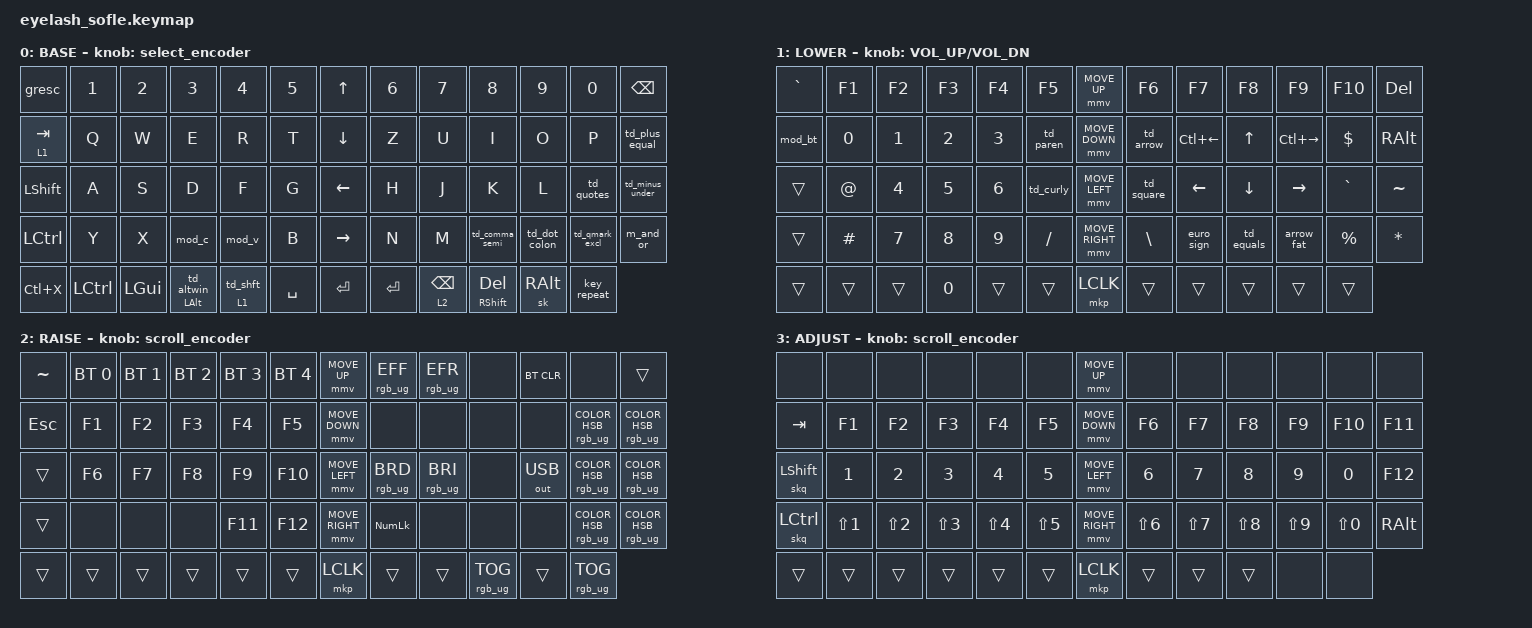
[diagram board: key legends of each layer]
#define ZMK_POINTING_DEFAULT_MOVE_VAL 1200  // 600
#define ZMK_POINTING_DEFAULT_SCRL_VAL 25   // 10

#include <input/processors.dtsi>
#include <zephyr/dt-bindings/input/input-event-codes.h>
#include <behaviors.dtsi>
#include <dt-bindings/zmk/bt.h>
#include <dt-bindings/zmk/keys.h>
#include <dt-bindings/zmk/outputs.h>
#include <dt-bindings/zmk/pointing.h>
#include <dt-bindings/zmk/rgb.h>
#include "leader.dtsi"


#define SMO(name, normal, shifted) \
    name: name { \
        compatible = "zmk,behavior-mod-morph"; \
        #binding-cells = <0>; \
        bindings = <&kp normal>, <&kp shifted>; \
        mods = <(MOD_LSFT|MOD_RSFT)>; \
    };

#define CMOBT(name, normal, shifted) \
    name: name { \
        compatible = "zmk,behavior-mod-morph"; \
        #binding-cells = <0>; \
        bindings = <&kp normal>, <&bt BT_SEL shifted>; \
        mods = <(MOD_LCTL|MOD_RCTL)>; \
    };



&mmv_input_listener { input-processors = <&zip_xy_scaler 2 1>; };

&msc_input_listener { input-processors = <&zip_scroll_scaler 1 1>; };

&soft_off {
    hold-time-ms = <2000>; 
};

&sk {
    release-after-ms = <1000>;
    quick-release;
};

&msc {
    acceleration-exponent = <1>;      // 0
    time-to-max-speed-ms = <100>;       // 300
    delay-ms = <0>;                   // 0
};

&mmv {
    time-to-max-speed-ms = <500>;
    acceleration-exponent = <1>;
    trigger-period-ms = <16>;
};

/ {
    conditional_layers {
        compatible = "zmk,conditional-layers";
        tri_layer {
            if-layers = <1 2>;
            then-layer = <3>;
        };
    };
};

/ {
    scroll_encoder: scroll_encoder {
        compatible = "zmk,behavior-sensor-rotate";
        #sensor-binding-cells = <0>;
        bindings = <&msc SCRL_DOWN>, <&msc SCRL_UP>;

        tap-ms = <100>;
    };

    select_encoder: select_encoder {
        compatible = "zmk,behavior-sensor-rotate";
        #sensor-binding-cells = <0>;
        bindings = <&kp LC(RIGHT)>, <&kp LC(LEFT)>;

        tap-ms = <100>;
    };

    behaviors {

        SMO(m_plus_equal, PLUS, EQUAL)
        SMO(m_comma_semi, COMMA, SEMI)
        SMO(m_dot_colon, DOT, COLON)
        SMO(m_qmark_excl, QMARK, EXCL)
        SMO(m_and_or, AMPS, PIPE)

        CMOBT(m_0_bt0, N0, 0)
        CMOBT(m_1_bt1, N1, 1)
        CMOBT(m_2_bt2, N2, 2)
        CMOBT(m_3_bt3, N3, 3)

        td_bt: td_bt {
            compatible = "zmk,behavior-tap-dance";
            #binding-cells = <0>;
            tapping-term-ms = <400>;
            bindings = <&bt BT_SEL 0>, <&bt BT_SEL 1>, <&bt BT_SEL 2>, <&bt BT_SEL 3>, <&bt BT_SEL 4>;
        };

        mod_bt: mod_bt {
            compatible = "zmk,behavior-mod-morph";
            #binding-cells = <0>;
            bindings = <&td_bt>, <&bt BT_CLR>;
            mods = <(MOD_LCTL|MOD_RCTL)>;
        };

        td_comma_semi: td_comma_semi {
            compatible = "zmk,behavior-tap-dance";
            #binding-cells = <0>;
            tapping-term-ms = <200>;
            bindings = <&m_comma_semi>, <&kp SEMI>;
        };

        dot_dot_dot: dot_dot_dot {
            compatible = "zmk,behavior-macro";
            #binding-cells = <0>;
            bindings = <&kp DOT &kp DOT &kp DOT>;
        };

        td_plus_equal: td_plus_equal {
            compatible = "zmk,behavior-tap-dance";
            #binding-cells = <0>;
            tapping-term-ms = <200>;
            bindings = <&m_plus_equal>, <&kp EQUAL>;
        };
        
         td_dot_colon: td_dot_colon {
            compatible = "zmk,behavior-tap-dance";
            #binding-cells = <0>;
            tapping-term-ms = <200>;
            bindings = <&m_dot_colon>, <&kp COLON>, <&dot_dot_dot>;
        };
        
         td_qmark_excl: td_qmark_excl {
            compatible = "zmk,behavior-tap-dance";
            #binding-cells = <0>;
            tapping-term-ms = <200>;
            bindings = <&m_qmark_excl>, <&kp EXCL>;
        };

        td_minus_under: td_minus_under {
            compatible = "zmk,behavior-tap-dance";
            #binding-cells = <0>;
            tapping-term-ms = <200>;
            bindings = <&kp MINUS>, <&kp UNDER>;
        };

        td_quotes: td_quotes {
            compatible = "zmk,behavior-tap-dance";
            #binding-cells = <0>;
            tapping-term-ms = <200>;
            bindings = <&kp SQT>, <&kp DQT>;
        };

        td_equals: td_equals {
            compatible = "zmk,behavior-tap-dance";
            #binding-cells = <0>;
            tapping-term-ms = <200>;
            bindings = <&equal_equal>, <&not_equal>;
        };


        td_curly: td_curly {
            compatible = "zmk,behavior-tap-dance";
            #binding-cells = <0>;
            tapping-term-ms = <200>;
            bindings = <&kp LBRC>, <&kp RBRC>;
        };

        td_paren: td_paren {
            compatible = "zmk,behavior-tap-dance";
            #binding-cells = <0>;
            tapping-term-ms = <200>;
            bindings = <&kp LPAR>, <&kp RPAR>;
        };

        td_square: td_square {
            compatible = "zmk,behavior-tap-dance";
            #binding-cells = <0>;
            tapping-term-ms = <200>;
            bindings = <&kp LBKT>, <&kp RBKT>;
        };

        td_arrow: td_arrow {
            compatible = "zmk,behavior-tap-dance";
            #binding-cells = <0>;
            tapping-term-ms = <200>;
            bindings = <&kp LT>, <&kp GT>;
        };

        td_pst: td_pst {
            compatible = "zmk,behavior-tap-dance";
            #binding-cells = <0>;
            tapping-term-ms = <200>;
            bindings = <&kp LC(V)>, <&kp LG(V)>; 
        };

        td_cpy: td_cpy {
            compatible = "zmk,behavior-tap-dance";
            #binding-cells = <0>;
            tapping-term-ms = <200>;
            bindings = <&kp LC(C)>, <&copy_line>; 
        };

        td_shft: td_shft {
            compatible = "zmk,behavior-tap-dance";
            #binding-cells = <0>;
            tapping-term-ms = <250>;
            bindings = <&skq LSHFT>, <&caps_word>; 
        };

      

        td_altwin: td_altwin {
            compatible = "zmk,behavior-tap-dance";
            #binding-cells = <0>;
            tapping-term-ms = <200>;
            bindings = <&leader1>, <&kp LGUI>; 
        };

          mt_altlead: mt_altlead {
            compatible = "zmk,behavior-hold-tap";
            #binding-cells = <2>;
            flavor = "hold-preferred";
            tapping-term-ms = <200>;
            quick-tap-ms = <200>;
            bindings = <&kp>, <&td_altwin>;
        };

        td_esc_clr: td_esc_clr {
            compatible = "zmk,behavior-tap-dance";
            #binding-cells = <0>;
            tapping-term-ms = <200>;
            bindings = <&kp ESC>, <&kp ESC>, <&bt BT_CLR>; 
        };

        mod_v: mod_v {
            compatible = "zmk,behavior-mod-morph";
            #binding-cells = <0>;
            bindings = <&kp V>, <&td_pst>;
            mods = <(MOD_LCTL|MOD_RCTL)>;
        };

        mod_c: mod_c {
            compatible = "zmk,behavior-mod-morph";
            #binding-cells = <0>;
            bindings = <&kp C>, <&td_cpy>;
            mods = <(MOD_LCTL|MOD_RCTL)>;
        };


        mt_leader: mt_leader {
            compatible = "zmk,behavior-hold-tap";
            #binding-cells = <2>;
            flavor = "hold-preferred";
            tapping-term-ms = <200>;
            quick-tap-ms = <150>;
            bindings = <&leader1>, <&kp>;
        };

        mt_ctrl: mt_ctrl {
            compatible = "zmk,behavior-hold-tap";
            #binding-cells = <2>;
            flavor = "hold-preferred";
            tapping-term-ms = <175>;
            quick-tap-ms = <140>;
            bindings = <&kp>, <&skq>;
            retro-tap;
        };

        lt_spc: lt_spc {
            compatible = "zmk,behavior-hold-tap";
            #binding-cells = <2>;
            flavor = "tap-preferred";
            tapping-term-ms = <180>;
            quick-tap-ms = <150>;
            bindings = <&mo>, <&kp>;
            retro-tap;
            global-quick-tap;
        };

        lt_spc2: lt_spc2 {
            compatible = "zmk,behavior-hold-tap";
            #binding-cells = <2>;
            flavor = "balanced";
            tapping-term-ms = <180>;
            quick-tap-ms = <150>;
            bindings = <&mo>, <&kp>;
            retro-tap;
            hold-while-undecided;
        };

        mo_shft: behavior_mo_sk {
            compatible = "zmk,behavior-hold-tap";
            #binding-cells = <2>;
            flavor = "balanced";
            tapping-term-ms = <200>;
            bindings = <&mo>, <&td_shft>;
            quick-tap-ms = <150>;
            retro-tap;
            hold-while-undecided;
        };

        mod_qtap: mod_qtap {
            compatible = "zmk,behavior-hold-tap";
            #binding-cells = <2>;
            flavor = "hold-preferred";
            tapping-term-ms = <180>;
            bindings = <&kp>, <&kp>;
            quick-tap-ms = <150>;
            retro-tap;
            global-quick-tap;
        };

        skq: sticky_key_quick_release {
            compatible = "zmk,behavior-sticky-key";
            #binding-cells = <1>;
            bindings = <&kp>;
            release-after-ms = <1000>;
            quick-release;
            ignore-modifiers;
        };

    };


    combos {
        compatible = "zmk,combos";


        combo_off {
            bindings = <&soft_off>;
            key-positions = <15 16 17 18>;
        };

        combo_esc {
            bindings = <&kp ESC>;
            key-positions = <13 14>;
        };

        combo_del {
            bindings = <&kp DEL>;
            key-positions = <24 25>;
        };

        combo_tog1 {
            bindings = <&tog 1>;
            key-positions = <27 28 29 30>;
        };
        
    };

    keymap {
        compatible = "zmk,keymap";

        /* =====================================================================
        * LAYER0 — Base
        * ===================================================================== */

        layer0 {
            bindings = <
&gresc          &kp N1     &kp N2        &kp N3        &kp N4           &kp N5       &kp UP_ARROW           &kp N6          &kp N7          &kp N8            &kp N9           &kp N0           &kp BACKSPACE
&lt_spc2 1 TAB     &kp Q      &kp W         &kp E         &kp R            &kp T        &kp DOWN_ARROW         &kp Z           &kp U           &kp I             &kp O            &kp P            &td_plus_equal
&kp LSHFT        &kp A      &kp S         &kp D         &kp F            &kp G        &kp LEFT_ARROW         &kp H           &kp J           &kp K             &kp L            &td_quotes         &td_minus_under
&kp LCTRL   &kp Y      &kp X         &mod_c         &mod_v           &kp B        &kp RIGHT_ARROW        &kp N           &kp M           &td_comma_semi     &td_dot_colon     &td_qmark_excl    &m_and_or
&kp LC(X)   &kp LCTRL  &kp LEFT_GUI  &mt_altlead LALT 0    &mo_shft 1 0   &kp SPACE    &kp ENTER              &kp ENTER       &lt_spc 2 BKSP     &mod_qtap RSHFT DEL  &sk RIGHT_ALT    &key_repeat
            >;

            sensor-bindings = <&select_encoder>;
            display-name = "BASE";
        };
        
        /* =====================================================================
        * LAYER1 — Nav / Editing
        * ===================================================================== */
        layer_1 {
            bindings = <
&kp GRAVE       &kp F1       &kp F2       &kp F3      &kp F4        &kp F5           &mmv MOVE_UP            &kp F6           &kp F7               &kp F8                &kp F9           &kp F10            &kp DELETE
&mod_bt         &kp N0         &kp N1       &kp N2      &kp N3        &td_paren        &mmv MOVE_DOWN          &td_arrow        &kp LC(LEFT)         &kp UP                &kp LC(RIGHT)    &kp DOLLAR         &kp RIGHT_ALT
&trans          &kp AT           &kp N4       &kp N5      &kp N6        &td_curly        &mmv MOVE_LEFT          &td_square       &kp LEFT             &kp DOWN              &kp RIGHT        &kp GRAVE          &kp TILDE
&trans          &kp HASH        &kp N7       &kp N8      &kp N9        &kp FSLH         &mmv MOVE_RIGHT         &kp BSLH         &euro_sign        &td_equals            &arrow_fat       &kp PERCENT        &kp STAR
&trans          &trans           &trans       &kp N0      &trans        &trans           &mkp LCLK               &trans           &trans           &trans                &trans           &trans
            >;

            display-name = "LOWER";
            sensor-bindings = <&inc_dec_kp C_VOLUME_UP C_VOL_DN>;
        };


        /* =====================================================================
        * LAYER2 — Bluetooth / Output / System / RGB
        * ===================================================================== */
        layer_2 {
            bindings = <
&kp TILDE   &bt BT_SEL 0   &bt BT_SEL 1    &bt BT_SEL 2   &bt BT_SEL 3    &bt BT_SEL 4      &mmv MOVE_UP        &rgb_ug RGB_EFF    &rgb_ug RGB_EFR    &none              &bt BT_CLR          &none                                   &trans
&kp ESC     &kp F1         &kp F2          &kp F3         &kp F4          &kp F5            &mmv MOVE_DOWN      &none       &none       &none      &none        &rgb_ug RGB_COLOR_HSB(270,40,100)       &rgb_ug RGB_COLOR_HSB(0,100,100)
&trans      &kp F6         &kp F7          &kp F8         &kp F9          &kp F10           &mmv MOVE_LEFT      &rgb_ug RGB_BRD    &rgb_ug RGB_BRI    &none              &out OUT_USB        &rgb_ug RGB_COLOR_HSB(240,30,100)       &rgb_ug RGB_COLOR_HSB(0,0,100)
&trans      &none          &none           &none          &kp F11         &kp F12           &mmv MOVE_RIGHT     &kp KP_NUMLOCK         &none              &none              &none               &rgb_ug RGB_COLOR_HSB(10,50,100)        &rgb_ug RGB_COLOR_HSB(45,75,100)
&trans      &trans         &trans          &trans         &trans          &trans            &mkp LCLK           &trans             &trans             &rgb_ug RGB_TOG    &trans              &rgb_ug RGB_TOG
            >;

            display-name = "RAISE";
            sensor-bindings = <&scroll_encoder>;
        };

        /* =====================================================================
        * LAYER3 — Alt num sym setup
        * ===================================================================== */
        layer_3 {
            bindings = <
&none       &none           &none           &none          &none          &none            &mmv MOVE_UP        &none            &none           &none               &none             &none             &none
&kp TAB     &kp F1          &kp F2          &kp F3         &kp F4         &kp F5     &mmv MOVE_DOWN      &kp F6           &kp F7          &kp F8              &kp F9            &kp F10           &kp F11
&skq LSHFT       &kp N1          &kp N2          &kp N3         &kp N4         &kp N5           &mmv MOVE_LEFT      &kp N6           &kp N7          &kp N8              &kp N9            &kp N0            &kp F12
&skq LCTRL        &kp LS(N1)      &kp LS(N2)      &kp LS(N3)     &kp LS(N4)     &kp LS(N5)            &mmv MOVE_RIGHT     &kp LS(N6)       &kp LS(N7)      &kp LS(N8)          &kp LS(N9)        &kp LS(N0)        &kp RIGHT_ALT 
&trans       &trans         &trans          &trans         &trans         &trans           &mkp LCLK           &trans           &trans          &trans              &none             &none
            >;

            display-name = "ADJUST";
            sensor-bindings = <&scroll_encoder>;
        };

    };
};
